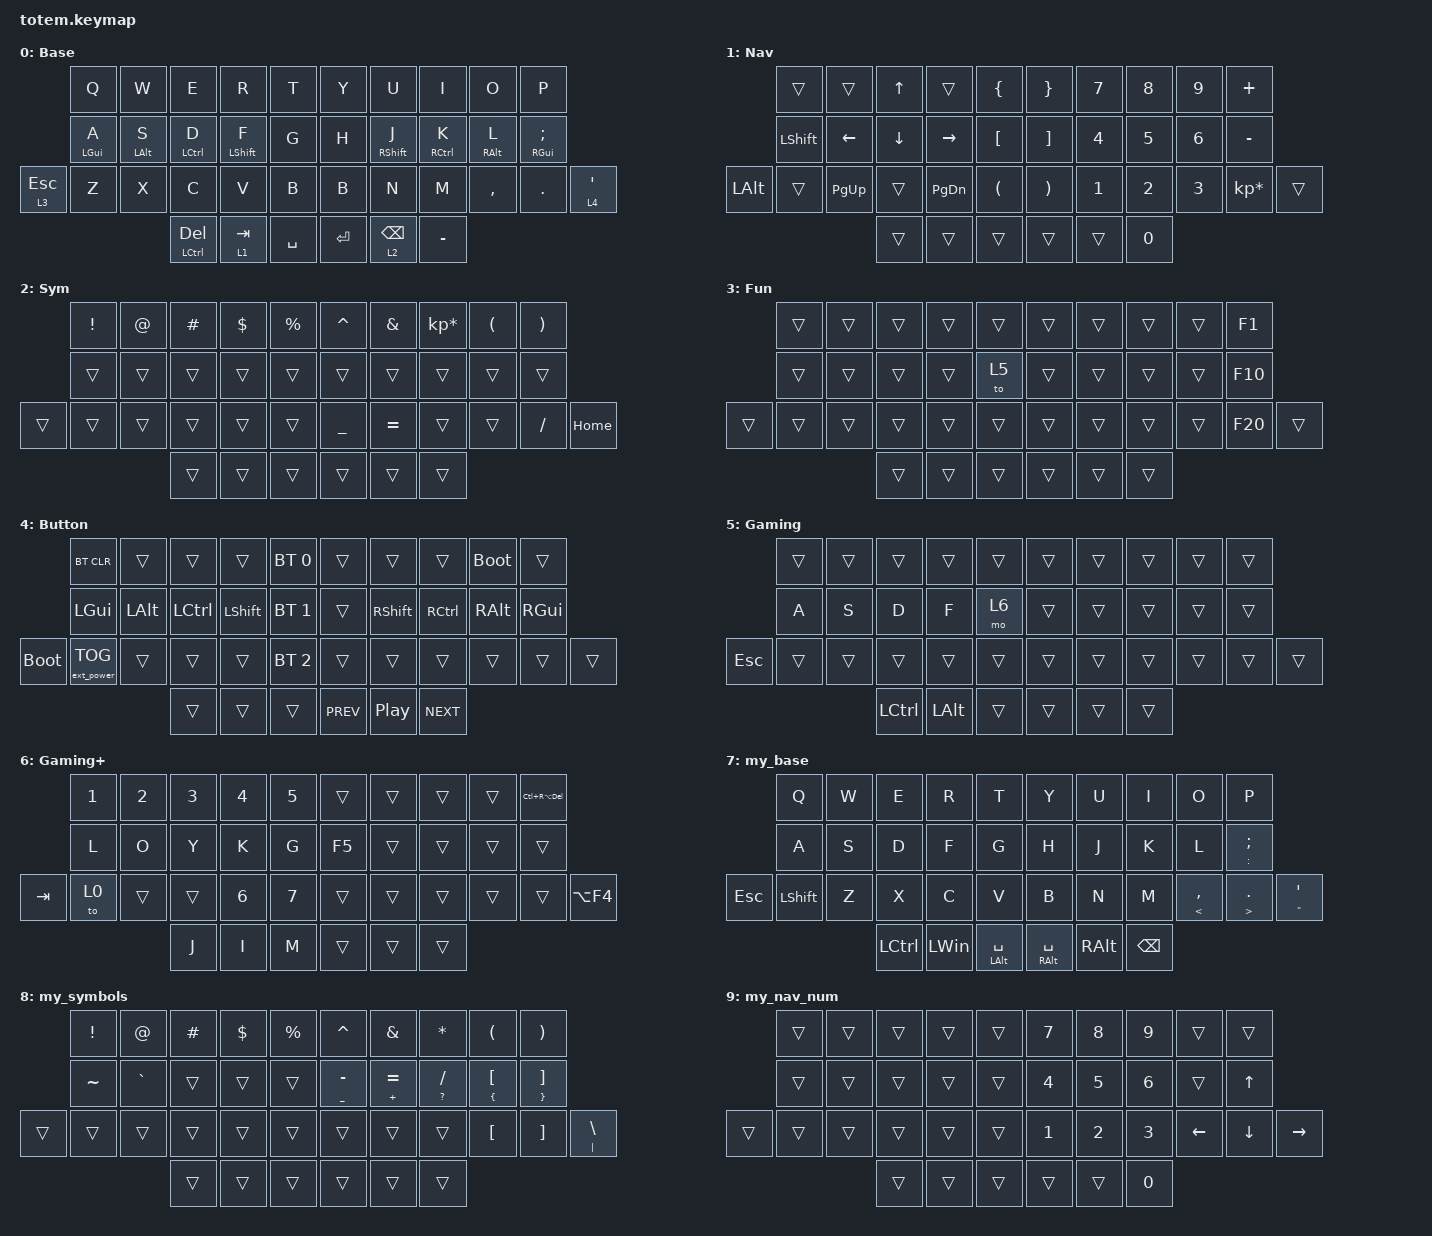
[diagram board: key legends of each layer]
//
//                                                        ▀▀▀▀▀     ▀▀▀▀▀          ▀▀█▀▀
//                                                        ▄▀▀▀▄  ▄  ▄▀▀▀▄  ▄  ▄▀▀▀▄  █  ▄▀▀▀▄
//                                                        █   █  █  █   █  █  █   █  █  █   █
//                                                         ▀▀▀   █   ▀▀▀   █   ▀▀▀   ▀   ▀▀▀
//                                                               █      ▄▄▄█▄▄▄    █   █  
//                                                               ▀      █  █  █     █▄█
//                                                             ▀▀▀▀▀    █  █  █      ▀
//                                                                      ▀  ▀  ▀
//
// ▄▄▄▄▄▄▄▄▄▄▄▄▄▄▄▄▄▄▄▄▄▄▄▄▄▄▄▄▄▄▄▄▄▄▄▄▄▄▄▄▄▄▄▄▄▄▄▄▄▄▄▄▄▄▄▄▄▄▄▄▄▄▄▄▄▄▄▄▄▄▄▄▄▄▄▄▄▄▄▄▄▄▄▄▄▄▄▄▄▄▄▄▄▄▄▄▄▄▄▄▄▄▄▄▄▄▄▄▄▄▄▄▄▄▄▄▄▄▄▄▄▄▄▄▄▄▄▄▄▄▄▄▄▄▄▄▄▄▄▄▄▄▄▄▄▄▄▄▄

#include <behaviors.dtsi>
#include <dt-bindings/zmk/bt.h>
#include <dt-bindings/zmk/ext_power.h>
#include <dt-bindings/zmk/keys.h>

#define Base        0
#define Media       1
#define Nav         2
#define Mouse       3
#define Sym         4
#define Num         5
#define Fun         6
#define Button      7
#define Game        8
#define Gameplus    9

&mt {
    quick-tap-ms = <100>;
    global-quick-tap;
    flavor = "tap-preferred";
    tapping-term-ms = <170>;
};

&lt {
    tapping-term-ms = <240>;
    flavor = "balanced";
    quick-tap-ms = <150>;
};

/ {
    behaviors {
        hm: homerow_mods {
            compatible = "zmk,behavior-hold-tap";
            label = "HOMEROW_MODS";
            #binding-cells = <2>;
            flavor = "tap-preferred";
            tapping-term-ms = <200>;
            quick-tap-ms = <125>;
            global-quick-tap;
            bindings = <&kp>, <&kp>;
        };
    };

    combos { compatible = "zmk,combos"; };

    keymap {
        compatible = "zmk,keymap";

        Base {
            label = "Base";
            bindings = <
              &kp Q       &kp W       &kp E          &kp R         &kp T        &kp Y    &kp U        &kp I        &kp O       &kp P
              &hm LGUI A  &hm LALT S  &hm LCTRL D    &hm LSHIFT F  &kp G        &kp H    &hm RSHFT J  &hm RCTRL K  &hm RALT L  &hm RGUI SEMICOLON
&lt 3 ESCAPE  &kp Z       &kp X       &kp C          &kp V         &kp B        &kp B    &kp N        &kp M        &kp COMMA   &kp PERIOD          &lt 4 APOSTROPHE
                                      &mt LCTRL DEL  &lt 1 TAB     &kp SPACE    &kp RET  &lt 2 BSPC   &kp MINUS
            >;
        };

        Nav {
            label = "Nav";
            bindings = <
              &trans          &trans       &kp UP_ARROW  &trans     &kp LBRC    &kp RBRC  &kp NUMBER_7  &kp NUMBER_8  &kp NUMBER_9  &kp PLUS
              &kp LEFT_SHIFT  &kp LEFT     &kp DOWN      &kp RIGHT  &kp LBKT    &kp RBKT  &kp NUMBER_4  &kp NUMBER_5  &kp NUMBER_6  &kp MINUS
&kp LEFT_ALT  &trans          &kp PAGE_UP  &trans        &kp PG_DN  &kp LPAR    &kp RPAR  &kp NUMBER_1  &kp NUMBER_2  &kp NUMBER_3  &kp KP_MULTIPLY  &trans
                                           &trans        &trans     &trans      &trans    &trans        &kp NUMBER_0
            >;
        };

        Sym {
            label = "Sym";
            bindings = <
        &kp EXCL  &kp AT  &kp HASH  &kp DOLLAR  &kp PERCENT    &kp CARET  &kp AMPERSAND  &kp KP_ASTERISK  &kp LEFT_PARENTHESIS  &kp RIGHT_PARENTHESIS
        &trans    &trans  &trans    &trans      &trans         &trans     &trans         &trans           &trans                &trans
&trans  &trans    &trans  &trans    &trans      &trans         &kp UNDER  &kp EQUAL      &trans           &trans                &kp SLASH              &kp HOME
                          &trans    &trans      &trans         &trans     &trans         &trans
            >;
        };

        Fun {
            label = "Fun";
            bindings = <
        &trans  &trans  &trans  &trans  &trans    &trans  &trans  &trans  &trans  &kp F1
        &trans  &trans  &trans  &trans  &to 5     &trans  &trans  &trans  &trans  &kp F10
&trans  &trans  &trans  &trans  &trans  &trans    &trans  &trans  &trans  &trans  &kp F20  &trans
                        &trans  &trans  &trans    &trans  &trans  &trans
            >;
        };

        Button {
            label = "Button";
            bindings = <
             &bt BT_CLR         &trans    &trans     &trans      &bt BT_SEL 0    &trans      &trans            &trans      &bootloader  &trans
             &kp LGUI           &kp LALT  &kp LCTRL  &kp LSHIFT  &bt BT_SEL 1    &trans      &kp RSHIFT        &kp RCTRL   &kp RALT     &kp RGUI
&bootloader  &ext_power EP_TOG  &trans    &trans     &trans      &bt BT_SEL 2    &trans      &trans            &trans      &trans       &trans    &trans
                                          &trans     &trans      &trans          &kp C_PREV  &kp C_PLAY_PAUSE  &kp C_NEXT
            >;
        };

        Gaming {
            bindings = <
            &trans  &trans  &trans     &trans        &trans    &trans  &trans  &trans  &trans  &trans
            &kp A   &kp S   &kp D      &kp F         &mo 6     &trans  &trans  &trans  &trans  &trans
&kp ESCAPE  &trans  &trans  &trans     &trans        &trans    &trans  &trans  &trans  &trans  &trans  &trans
                            &kp LCTRL  &kp LEFT_ALT  &trans    &trans  &trans  &trans
            >;

            label = "Gaming";
        };

        Gaming+ {
            bindings = <
         &kp NUMBER_1  &kp NUMBER_2  &kp NUMBER_3  &kp NUMBER_4  &kp NUMBER_5    &trans  &trans  &trans  &trans  &kp LC(RA(DEL))
         &kp L         &kp O         &kp Y         &kp K         &kp G           &kp F5  &trans  &trans  &trans  &trans
&kp TAB  &to 0         &trans        &trans        &kp NUMBER_6  &kp NUMBER_7    &trans  &trans  &trans  &trans  &trans           &kp LA(F4)
                                     &kp J         &kp I         &kp M           &trans  &trans  &trans
            >;

            label = "Gaming+";
        };

        my_base {
            bindings = <
         &kp Q      &kp W  &kp E      &kp R         &kp T                 &kp Y                &kp U     &kp I     &kp O                &kp P
         &kp A      &kp S  &kp D      &kp F         &kp G                 &kp H                &kp J     &kp K     &kp L                &hm COLON SEMICOLON
&kp ESC  &kp LSHFT  &kp Z  &kp X      &kp C         &kp V                 &kp B                &kp N     &kp M     &hm LESS_THAN COMMA  &hm GREATER_THAN PERIOD  &hm DOUBLE_QUOTES SQT
                           &kp LCTRL  &kp LEFT_WIN  &hm LEFT_ALT SPACE    &hm RIGHT_ALT SPACE  &kp RALT  &kp BSPC
            >;
        };

        my_symbols {
            bindings = <
        &kp EXCL   &kp AT     &kp HASH  &kp DOLLAR  &kp PERCENT    &kp CARET        &kp AMPS        &kp ASTERISK        &kp LEFT_PARENTHESIS         &kp RIGHT_PARENTHESIS
        &kp TILDE  &kp GRAVE  &trans    &trans      &trans         &hm UNDER MINUS  &hm PLUS EQUAL  &hm QUESTION SLASH  &hm LEFT_BRACE LEFT_BRACKET  &hm RIGHT_BRACE RIGHT_BRACKET
&trans  &trans     &trans     &trans    &trans      &trans         &trans           &trans          &trans              &kp LEFT_BRACKET             &kp RIGHT_BRACKET              &hm PIPE BACKSLASH
                              &trans    &trans      &trans         &trans           &trans          &trans
            >;
        };

        my_nav_num {
            bindings = <
        &trans  &trans  &trans  &trans  &trans    &kp N7  &kp N8  &kp N9  &trans    &trans
        &trans  &trans  &trans  &trans  &trans    &kp N4  &kp N5  &kp N6  &trans    &kp UP
&trans  &trans  &trans  &trans  &trans  &trans    &kp N1  &kp N2  &kp N3  &kp LEFT  &kp DOWN  &kp RIGHT
                        &trans  &trans  &trans    &trans  &trans  &kp N0
            >;
        };
    };
};
